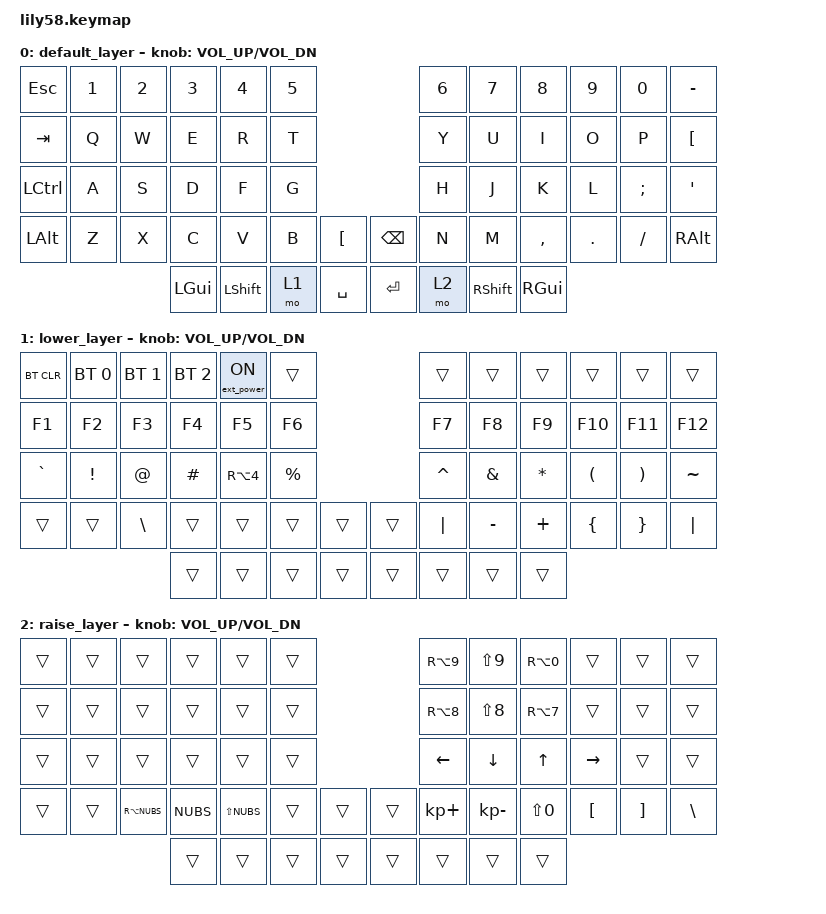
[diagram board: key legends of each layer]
/*
 * Copyright (c) 2020 The ZMK Contributors
 *
 * SPDX-License-Identifier: MIT
 */

#include <behaviors.dtsi>
#include <dt-bindings/zmk/bt.h>
#include <dt-bindings/zmk/ext_power.h>
#include <dt-bindings/zmk/keys.h>

/ {
    keymap {
        compatible = "zmk,keymap";

        default_layer {
            // ------------------------------------------------------------------------------------------------------------
            // |  ESC  |  1  |  2  |  3   |  4   |  5   |                   |  6   |  7    |  8    |  9   |   0   |   `   |
            // |  TAB  |  Q  |  W  |  E   |  R   |  T   |                   |  Y   |  U    |  I    |  O   |   P   |   -   |
            // |  CTRL |  A  |  S  |  D   |  F   |  G   |                   |  H   |  J    |  K    |  L   |   ;   |   '   |
            // | SHIFT |  Z  |  X  |  C   |  V   |  B   |   "["  |  |  "]"  |  N   |  M    |  ,    |  .   |   /   | SHIFT |
            //                     | ALT  | GUI  | LOWER|  SPACE |  | ENTER | RAISE| BSPC  | GUI   |

            bindings = <
&kp ESC       &kp N1  &kp N2  &kp N3        &kp N4          &kp N5                              &kp N6  &kp N7           &kp N8     &kp N9   &kp N0    &kp MINUS
&kp TAB       &kp Q   &kp W   &kp E         &kp R           &kp T                               &kp Y   &kp U            &kp I      &kp O    &kp P     &kp LEFT_BRACKET
&kp LCTRL     &kp A   &kp S   &kp D         &kp F           &kp G                               &kp H   &kp J            &kp K      &kp L    &kp SEMI  &kp SQT
&kp LEFT_ALT  &kp Z   &kp X   &kp C         &kp V           &kp B   &kp LBKT     &kp BACKSPACE  &kp N   &kp M            &kp COMMA  &kp DOT  &kp FSLH  &kp RIGHT_ALT
                              &kp LEFT_GUI  &kp LEFT_SHIFT  &mo 1   &kp SPACE    &kp RET        &mo 2   &kp RIGHT_SHIFT  &kp RGUI
            >;

            sensor-bindings = <&inc_dec_kp C_VOL_UP C_VOL_DN>;
        };

        lower_layer {
            // ------------------------------------------------------------------------------------------------------------
            // | BTCLR | BT1 | BT2 |  BT3 |  BT4 |  BT5 |                   |      |       |       |      |       |       |
            // |  F1   |  F2 |  F3 |  F4  |  F5  |  F6  |                   |  F7  |  F8   |  F9   |  F10 |  F11  |  F12  |
            // |   `   |  !  |  @  |  #   |  $   |  %   |                   |  ^   |  &    |  *    |  (   |   )   |   ~   |
            // |       |     |     |      |      |      |        |  |       |      |  _    |  +    |  {   |   }   |  "|"  |
            //                     |      |      |      |        |  |       |      |       |       |

            bindings = <
&bt BT_CLR  &bt BT_SEL 0  &bt BT_SEL 1  &bt BT_SEL 2  &ext_power EP_ON  &trans                       &trans     &trans     &trans     &trans    &trans    &trans
&kp F1      &kp F2        &kp F3        &kp F4        &kp F5            &kp F6                       &kp F7     &kp F8     &kp F9     &kp F10   &kp F11   &kp F12
&kp GRAVE   &kp EXCL      &kp AT        &kp HASH      &kp RA(NUMBER_4)  &kp PRCNT                    &kp CARET  &kp AMPS   &kp ASTRK  &kp LPAR  &kp RPAR  &kp TILDE
&trans      &trans        &kp BSLH      &trans        &trans            &trans     &trans    &trans  &kp PIPE   &kp MINUS  &kp PLUS   &kp LBRC  &kp RBRC  &kp PIPE
                                        &trans        &trans            &trans     &trans    &trans  &trans     &trans     &trans
            >;

            sensor-bindings = <&inc_dec_kp C_VOL_UP C_VOL_DN>;
        };

        raise_layer {
            // ------------------------------------------------------------------------------------------------------------
            // |       |     |     |      |      |      |                   |      |       |       |      |       |       |
            // |   `   |  1  |  2  |  3   |  4   |  5   |                   |  6   |   7   |   8   |  9   |   0   |       |
            // |   F1  |  F2 |  F3 |  F4  |  F5  |  F6  |                   |      |   <-  |   v   |  ^   |  ->   |       |
            // |   F7  |  F8 |  F9 |  F10 |  F11 |  F12 |        |  |       |  +   |   -   |   =   |  [   |   ]   |   \   |
            //                     |      |      |      |        |  |       |      |       |       |

            bindings = <
&trans  &trans  &trans        &trans    &trans        &trans                    &kp RA(NUMBER_9)  &kp LS(NUMBER_9)  &kp RA(NUMBER_0)  &trans     &trans    &trans
&trans  &trans  &trans        &trans    &trans        &trans                    &kp RA(NUMBER_8)  &kp LS(NUMBER_8)  &kp RA(NUMBER_7)  &trans     &trans    &trans
&trans  &trans  &trans        &trans    &trans        &trans                    &kp LEFT          &kp DOWN          &kp UP            &kp RIGHT  &trans    &trans
&trans  &trans  &kp RA(NUBS)  &kp NUBS  &kp LS(NUBS)  &trans  &trans    &trans  &kp KP_PLUS       &kp KP_MINUS      &kp LS(NUMBER_0)  &kp LBKT   &kp RBKT  &kp BSLH
                              &trans    &trans        &trans  &trans    &trans  &trans            &trans            &trans
            >;

            sensor-bindings = <&inc_dec_kp C_VOL_UP C_VOL_DN>;
        };
    };
};
